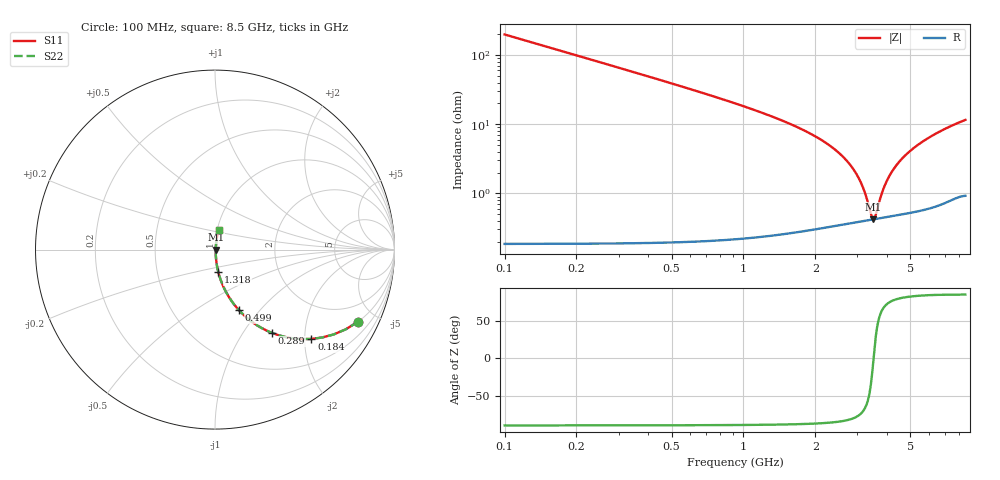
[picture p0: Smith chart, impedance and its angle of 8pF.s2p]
!Murata Part Number: GRM0335C1E8R0CA01
!These Parameters are Measured in Series Mode Connection
!  o--ll--o
!Port1  Port2
!  o------o
!Operation Temp=25[degC], DC Bias Voltage=0[V]
!Freq. Start=100[MHz] Stop=8.5[GHz], 401[Steps]
!Data Generated on Jan 10, 2018
# Hz S RI R 50
!Freq.(Hz) S11(Real) S11(Imag) S21(Real) S21(Imag) S12(Real) S12(Imag) S22(Real) S22(Imag)
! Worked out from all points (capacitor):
!   401 points, 100 MHz to 8.5 GHz, reference 50 ohm
!   read as one part in series: C = 8 pF near 142 MHz
!   lowest |Z| = 421 mohm at 3.502 GHz (marker M1)
!   series resonance near 3.507 GHz, so ESL is about 260 pH
!   S11 on the Smith chart (normalised r, x): 100 MHz: 1.00, -3.98; 184 MHz: 1.00, -2.16; 289 MHz: 1.00, -1.37; 499 MHz: 1.00, -0.78; 1.318 GHz: 1.00, -0.26; 8.5 GHz: 1.02, +0.23
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1e8  0.7978 -0.4012  0.2022 0.4012  0.2022 0.4012  0.7978 -0.4012
1.84e8  0.5375 -0.4977  0.4625 0.4977  0.4625 0.4977  0.5375 -0.4977
2.89e8  0.3189 -0.4647  0.6811 0.4647  0.6811 0.4647  0.3189 -0.4647
3.73e8  0.2183 -0.4113  0.7817 0.4113  0.7817 0.4113  0.2183 -0.4113
4.99e8  0.1335 -0.3376  0.8665 0.3376  0.8665 0.3376  0.1335 -0.3376
8.35e8  0.0497 -0.2128  0.9503 0.2128  0.9503 0.2128  0.0497 -0.2128
1.318e9  0.0187 -0.1264  0.9813 0.1264  0.9813 0.1264  0.0187 -0.1264
1.507e9  0.0139 -0.1054  0.9861 0.1054  0.9861 0.1054  0.0139 -0.1054
2.41e9  0.0052 -0.0429  0.9948 0.0429  0.9948 0.0429  0.0052 -0.0429
2.914e9  0.00419 -0.0208  0.9958 0.0208  0.9958 0.0208  0.00419 -0.0208
3.166e9  0.00408 -0.0114  0.9959 0.0114  0.9959 0.0114  0.00408 -0.0114
3.439e9  0.00415 -0.00218  0.9958 0.00218  0.9958 0.00218  0.00415 -0.00218
3.502e9  0.00419 -0.000154  0.9958 0.000154  0.9958 0.000154  0.00419 -0.000154
3.565e9  0.00424 0.00183  0.9958 -0.00183  0.9958 -0.00183  0.00424 0.00183
3.754e9  0.00443 0.0076  0.9956 -0.0076  0.9956 -0.0076  0.00443 0.0076
3.901e9  0.00461 0.0119  0.9954 -0.0119  0.9954 -0.0119  0.00461 0.0119
4.09e9  0.00489 0.0172  0.9951 -0.0172  0.9951 -0.0172  0.00489 0.0172
4.3e9  0.00526 0.0229  0.9947 -0.0229  0.9947 -0.0229  0.00526 0.0229
4.888e9  0.00655 0.0378  0.9934 -0.0378  0.9934 -0.0378  0.00655 0.0378
5.707e9  0.00897 0.0567  0.991 -0.0567  0.991 -0.0567  0.00897 0.0567
7.114e9  0.0149 0.0862  0.9851 -0.0862  0.9851 -0.0862  0.0149 0.0862
8.5e9  0.0219 0.1116  0.9781 -0.1116  0.9781 -0.1116  0.0219 0.1116
